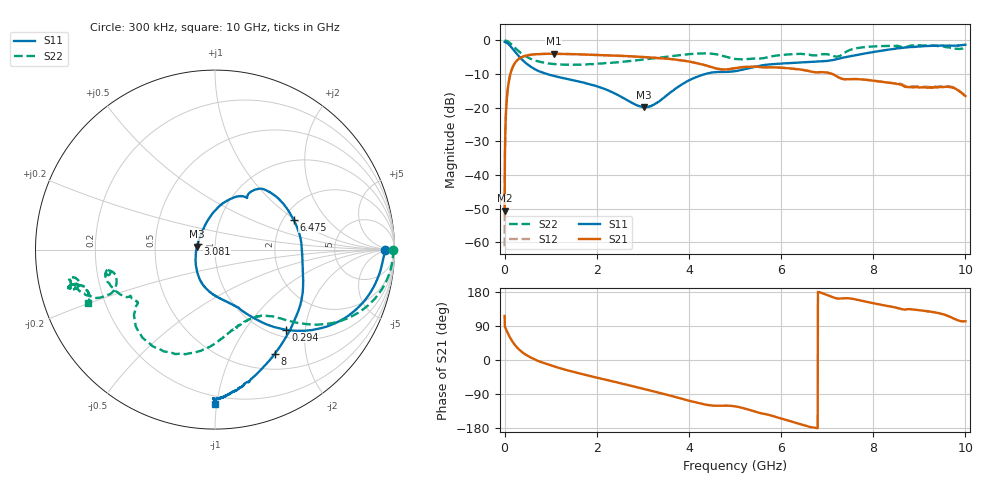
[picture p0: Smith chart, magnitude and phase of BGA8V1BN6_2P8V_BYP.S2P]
!Agilent Technologies,E5071C,MY46316587,B.13.01
!Date: Tue Nov 28 12:41:31 2017
!Data & Calibration Information:
!Freq	S11:SOLT2(ON)	S21:SOLT2(ON)	S12:SOLT2(ON)	S22:SOLT2(ON)
!PortZ  Port1:50+j0  Port2:50+j0
!Above PortZ is port z conversion or system Z0 setting when saving the data.
!When reading, reference impedance value at option line is always used.
# Hz S dB R 50
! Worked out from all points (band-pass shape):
!   1601 points, 300 kHz to 10 GHz, reference 50 ohm
!   highest |S21| = -4.02 dB at 1.063 GHz (marker M1); lowest = -50.6 dB at 300 kHz (marker M2)
!   |S21| within 3 dB of the highest: 212 MHz to 4.238 GHz (4.027 GHz wide, 181 % of centre)
!   lowest |S11| = -19.9 dB at 3.019 GHz (marker M3), VSWR 1.22, Z = 40.9 + j1.37 ohm
!   |S11| at or under -10 dB: 915.1 MHz to 4.359 GHz (3.444 GHz wide, 131 % of centre)
!   |S22| runs from -7.3 to -0.1 dB; largest |S21 - S12| = 0.011
!   S11 on the Smith chart (normalised r, x): 300 kHz: 36, -2; 294 MHz: 1.14, -1.57; 3.081 GHz: 0.82, +0.05; 6.475 GHz: 2.27, +0.97; 8 GHz: 0.71, -1.49; 10 GHz: 0.15, -0.99
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300000  -0.48 -0.1  -50.56 116.3  -61.11 81.4  -0.06 0.0
5.654831e7  -0.86 -13.7  -16.08 74.3  -15.98 74.3  -0.25 -10.3
7.529775e7  -1.05 -17.8  -13.78 69.4  -13.70 69.4  -0.40 -13.5
1.565453e8  -2.24 -32.7  -8.65 51.3  -8.58 51.3  -1.32 -25.0
2.940412e8  -4.52 -48.6  -5.70 30.0  -5.66 30.0  -3.11 -36.7
5.752828e8  -7.92 -63.5  -4.29 6.0  -4.27 6.0  -5.59 -46.7
1.062768e9  -10.57 -77.5  -4.02 -16.6  -4.01 -16.5  -7.05 -56.6
1.669e9  -12.42 -96.4  -4.20 -36.7  -4.20 -36.6  -7.19 -68.3
3.018959e9  -19.91 170.5  -4.97 -76.3  -5.01 -76.2  -5.72 -89.2
3.081458e9  -19.84 161.2  -5.03 -78.2  -5.05 -78.0  -5.61 -90.1
3.3377e9  -18.28 126.7  -5.27 -85.9  -5.29 -86.1  -5.19 -94.5
4.162675e9  -10.91 75.2  -6.78 -112.3  -6.76 -112.5  -3.96 -116.4
4.606412e9  -9.44 61.0  -8.41 -120.8  -8.41 -121.0  -4.20 -135.4
5.00015e9  -9.19 58.9  -8.29 -122.3  -8.27 -122.3  -5.54 -144.8
5.68138e9  -7.26 50.4  -8.08 -143.3  -8.08 -143.4  -5.17 -151.4
6.475106e9  -6.58 20.9  -8.81 -171.4  -8.81 -171.5  -4.08 -167.4
6.66885e9  -6.40 10.4  -9.35 -177.5  -9.34 -177.8  -4.47 -168.8
7.268832e9  -5.42 -23.8  -11.15 161.9  -11.14 161.8  -4.69 -160.5
8.00006e9  -3.50 -60.1  -12.00 149.8  -11.96 149.5  -1.86 -164.9
8.33755e9  -2.77 -70.7  -12.61 142.0  -12.56 141.6  -1.67 -167.0
9.66251e9  -1.60 -90.5  -13.93 114.3  -13.71 114.8  -2.18 -165.3
1e10  -1.33 -89.8  -16.55 102.2  -16.46 102.5  -2.34 -157.3
